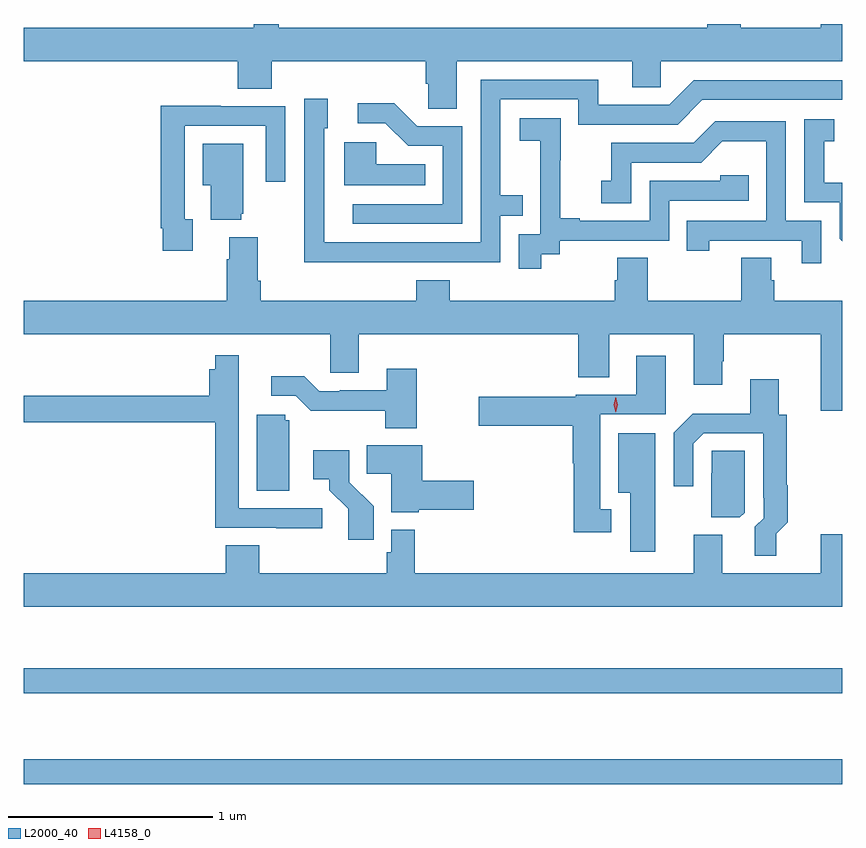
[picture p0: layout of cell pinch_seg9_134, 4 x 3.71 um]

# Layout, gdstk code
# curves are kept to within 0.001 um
import gdstk
lib = gdstk.Library(unit=1e-6, precision=1e-09)
def R(c, l, rs):  # rectangles x0, y0, x1, y1
    for r in rs: c.add(gdstk.rectangle(r[:2], r[2:], *l))
def P(c, l, *ps):  # polygons
    for p in ps: c.add(gdstk.Polygon(p, *l))
L2000_40 = (2000, 40)
L4158_0 = (4158, 0)

pinch_seg9_134 = lib.new_cell('pinch_seg9_134')
R(pinch_seg9_134, L2000_40, [(652.622,1220.862,656.622,1220.983), (652.622,1221.306,656.622,1221.427)])
P(pinch_seg9_134, L2000_40, [(654.739,1224.392),(655.595,1224.392),(655.595,1224.265),(655.734,1224.265),(655.734,1224.392),(656.622,1224.392),(656.622,1224.575),(656.516,1224.575),(656.516,1224.556),(656.125,1224.556),(656.125,1224.575),(655.961,1224.575),(655.961,1224.556),(653.869,1224.556),(653.869,1224.575),(653.747,1224.575),(653.747,1224.556),(652.622,1224.556),(652.622,1224.392),(653.669,1224.392),(653.669,1224.259),(653.834,1224.259),(653.834,1224.392),(654.587,1224.392),(654.587,1224.283),(654.6,1224.283),(654.6,1224.16),(654.739,1224.16)],
  [(654.455,1223.412),(654.951,1223.412),(654.951,1223.637),(655.061,1223.637),(655.061,1223.738),(654.951,1223.738),(654.951,1224.207),(655.332,1224.207),(655.332,1224.084),(655.818,1224.084),(655.938,1224.204),(656.622,1224.204),(656.622,1224.3),(655.896,1224.3),(655.776,1224.18),(655.429,1224.18),(655.429,1224.303),(654.855,1224.303),(654.855,1223.508),(654.091,1223.508),(654.09,1224.066),(654.109,1224.066),(654.109,1224.211),(653.994,1224.211),(653.994,1223.717),(653.992,1223.717),(653.992,1223.411)],
  [(654.765,1224.075),(654.546,1224.075),(654.433,1224.188),(654.255,1224.188),(654.255,1224.09),(654.389,1224.09),(654.5,1223.979),(654.669,1223.979),(654.669,1223.694),(654.231,1223.694),(654.231,1223.598),(654.765,1223.598)],
  [(653.449,1223.622),(653.409,1223.622),(653.409,1224.078),(653.805,1224.078),(653.805,1223.805),(653.901,1223.805),(653.901,1224.174),(653.585,1224.174),(653.585,1224.176),(653.293,1224.176),(653.293,1223.578),(653.301,1223.578),(653.301,1223.466),(653.449,1223.466)],
  [(655.15,1223.449),(655.242,1223.449),(655.242,1223.517),(655.776,1223.517),(655.776,1223.712),(656.165,1223.712),(656.165,1223.835),(656.025,1223.835),(656.025,1223.808),(655.68,1223.808),(655.68,1223.613),(655.339,1223.613),(655.339,1223.626),(655.244,1223.626),(655.244,1223.909),(655.245,1223.909),(655.245,1224.115),(655.047,1224.115),(655.047,1224.005),(655.145,1224.005),(655.145,1223.777),(655.146,1223.777),(655.146,1223.547),(655.041,1223.547),(655.041,1223.379),(655.15,1223.379)],
  [(656.622,1223.799),(656.533,1223.799),(656.533,1224.003),(656.582,1224.003),(656.582,1224.109),(656.436,1224.109),(656.436,1223.703),(656.61,1223.703),(656.61,1223.526),(656.622,1223.514)],
  [(656.52,1223.613),(656.346,1223.613),(656.346,1224.099),(656,1224.099),(655.895,1223.994),(655.492,1223.994),(655.492,1223.809),(655.443,1223.809),(655.443,1223.7),(655.59,1223.7),(655.59,1223.898),(655.932,1223.898),(656.036,1224.002),(656.25,1224.002),(656.25,1223.613),(655.861,1223.613),(655.861,1223.466),(655.972,1223.466),(655.972,1223.517),(656.423,1223.517),(656.423,1223.406),(656.52,1223.406)],
  [(654.584,1223.89),(654.345,1223.89),(654.345,1223.998),(654.188,1223.998),(654.188,1223.786),(654.584,1223.786)],
  [(653.684,1223.649),(653.695,1223.649),(653.695,1223.989),(653.498,1223.989),(653.498,1223.786),(653.537,1223.786),(653.537,1223.618),(653.684,1223.618)],
  [(656.622,1223.224),(656.288,1223.224),(656.288,1223.322),(656.275,1223.322),(656.275,1223.432),(656.128,1223.432),(656.128,1223.224),(655.671,1223.224),(655.671,1223.432),(655.523,1223.432),(655.523,1223.322),(655.511,1223.322),(655.511,1223.224),(654.704,1223.224),(654.704,1223.323),(654.539,1223.323),(654.539,1223.224),(653.78,1223.224),(653.78,1223.32),(653.767,1223.32),(653.767,1223.533),(653.627,1223.533),(653.627,1223.426),(653.615,1223.426),(653.615,1223.224),(652.622,1223.224),(652.622,1223.06),(654.12,1223.06),(654.12,1222.87),(654.259,1222.87),(654.259,1223.06),(655.331,1223.06),(655.331,1222.849),(655.483,1222.849),(655.483,1223.06),(655.895,1223.06),(655.895,1222.812),(656.035,1222.812),(656.035,1222.927),(656.043,1222.927),(656.043,1223.06),(656.516,1223.06),(656.516,1222.686),(656.622,1222.686)],
  [(654.082,1222.209),(653.673,1222.209),(653.673,1222.957),(653.557,1222.957),(653.557,1222.888),(653.528,1222.888),(653.528,1222.759),(652.622,1222.759),(652.622,1222.63),(653.557,1222.63),(653.557,1222.113),(653.857,1222.113),(653.857,1222.111),(654.082,1222.111)],
  [(655.492,1222.205),(655.438,1222.205),(655.438,1222.668),(655.759,1222.668),(655.759,1222.954),(655.616,1222.954),(655.616,1222.764),(655.32,1222.764),(655.32,1222.755),(654.846,1222.755),(654.846,1222.613),(655.304,1222.613),(655.304,1222.429),(655.309,1222.429),(655.309,1222.092),(655.492,1222.092)],
  [(654.543,1222.891),(654.395,1222.891),(654.395,1222.785),(654.166,1222.785),(654.166,1222.782),(654.066,1222.782),(653.993,1222.855),(653.832,1222.855),(653.832,1222.758),(653.952,1222.758),(654.025,1222.685),(654.388,1222.686),(654.388,1222.601),(654.543,1222.601)],
  [(656.298,1222.085),(656.354,1222.141),(656.354,1222.322),(656.351,1222.322),(656.351,1222.665),(656.311,1222.665),(656.311,1222.84),(656.171,1222.84),(656.171,1222.672),(655.891,1222.672),(655.797,1222.578),(655.797,1222.317),(655.893,1222.317),(655.893,1222.524),(655.944,1222.575),(656.235,1222.575),(656.235,1222.261),(656.238,1222.261),(656.238,1222.161),(656.195,1222.118),(656.195,1221.978),(656.298,1221.978)],
  [(653.92,1222.638),(653.901,1222.638),(653.901,1222.665),(653.762,1222.665),(653.762,1222.294),(653.92,1222.294)],
  [(655.708,1222.576),(655.526,1222.576),(655.526,1222.286),(655.586,1222.286),(655.586,1221.996),(655.708,1221.996)],
  [(654.552,1222.201),(654.82,1222.201),(654.82,1222.343),(654.569,1222.343),(654.569,1222.516),(654.298,1222.516),(654.298,1222.378),(654.419,1222.378),(654.419,1222.19),(654.552,1222.19)],
  [(654.332,1222.218),(654.213,1222.337),(654.213,1222.492),(654.036,1222.492),(654.036,1222.352),(654.116,1222.352),(654.116,1222.297),(654.207,1222.207),(654.207,1222.056),(654.332,1222.056)],
  [(656.145,1222.188),(656.145,1222.49),(655.983,1222.49),(655.983,1222.379),(655.982,1222.379),(655.982,1222.165),(656.121,1222.165)],
  [(656.622,1222.081),(656.516,1222.081),(656.516,1221.892),(656.035,1221.892),(656.035,1222.08),(655.895,1222.08),(655.895,1221.892),(654.533,1221.892),(654.533,1222.105),(654.417,1222.105),(654.417,1221.993),(654.397,1221.993),(654.397,1221.892),(653.774,1221.892),(653.774,1222.028),(653.609,1222.028),(653.609,1221.892),(652.622,1221.892),(652.622,1221.728),(656.622,1221.728)])
P(pinch_seg9_134, L4158_0, [(655.514,1222.679),(655.514,1222.679),(655.505,1222.715),(655.514,1222.751),(655.515,1222.751),(655.515,1222.751),(655.525,1222.715),(655.515,1222.679)])

lib.write_gds('pinch_seg9_134.gds')
